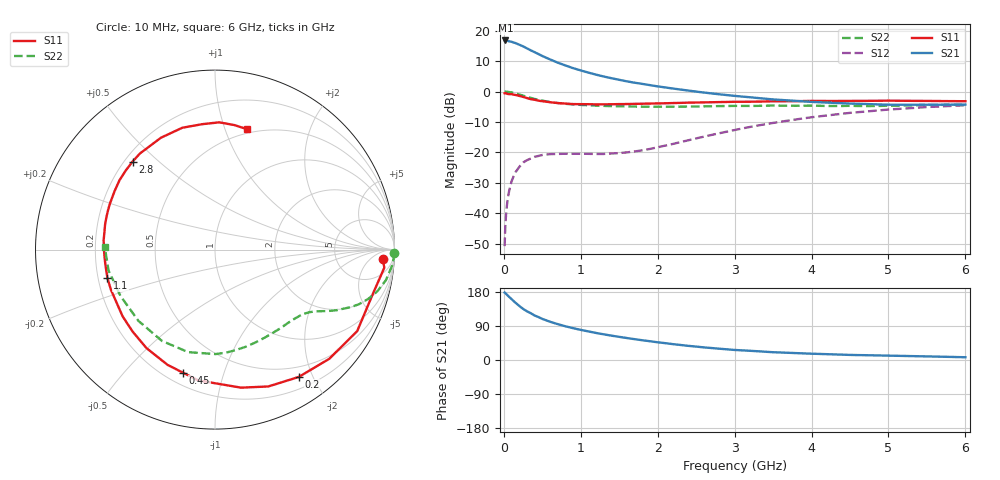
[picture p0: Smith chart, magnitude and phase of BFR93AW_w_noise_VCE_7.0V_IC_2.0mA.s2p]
! Infineon Technologies  Discrete & RF Semiconductors
! BFR93AW
! VCE =  7.0 V,  IC =  2.0 mA
! Common Emitter S-Parameters:  Jan 2017
# GHz  S  MA  R  50
!  f  S11  S21  S12  S22
! GHz  MAG  ANG  MAG  ANG  MAG  ANG  MAG  ANG
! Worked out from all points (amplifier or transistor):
!   77 points, 10 MHz to 6 GHz, reference 50 ohm
!   highest |S21| = 16.8 dB at 20 MHz (marker M1)
!   |S21| within 3 dB of that: start of sweep to 331.4 MHz
!   unconditionally stable (mu >= 1): 1.28 GHz to 2.251 GHz
!   at 130 MHz: K = 0.11, MSG = 21.9 dB, |S12| = -27.6 dB
!   at 2.2 GHz: K = 1.02, MAG = 8.2 dB, |S12| = -17.2 dB
!   at 6 GHz: K = 0.96, MSG = 0.1 dB, |S12| = -4.5 dB
!   lowest NFmin = 1.49 dB at 450 MHz
!   S11 on the Smith chart (normalised r, x): 10 MHz: 18, -15; 200 MHz: 0.35, -1.80; 450 MHz: 0.27, -0.74; 1.1 GHz: 0.24, -0.12; 2.8 GHz: 0.23, +0.41; 6 GHz: 0.46, +1.19
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0.01  0.9363 -3.2  6.817 178.1  0.0029 83.9  1 -1.0
0.02  0.9486 -6.1  6.896 176.4  0.0065 90.2  0.9987 -2.2
0.05  0.9149 -15.0  6.781 170.2  0.0171 81.7  0.9904 -5.2
0.1  0.9132 -29.8  6.567 160.6  0.0334 73.7  0.9677 -10.1
0.15  0.8807 -43.7  6.255 151.3  0.0471 66.4  0.9341 -14.4
0.2  0.8491 -56.7  5.884 142.8  0.0578 60.5  0.8961 -17.9
0.25  0.8184 -68.7  5.518 135.0  0.0683 54.9  0.8578 -20.8
0.3  0.7828 -79.3  5.115 128.5  0.0747 50.0  0.8192 -23.1
0.4  0.7346 -97.3  4.427 117.4  0.0849 42.9  0.757 -26.5
0.45  0.7085 -104.6  4.119 113.3  0.0878 40.4  0.7329 -27.7
0.5  0.6946 -112.3  3.835 108.5  0.0909 38.1  0.7091 -28.9
0.6  0.6686 -124.8  3.369 101.0  0.0939 35.0  0.6741 -30.6
0.7  0.6476 -135.1  2.983 94.7  0.0947 33.5  0.6484 -32.2
0.9  0.6226 -152.0  2.422 84.0  0.0953 33.0  0.6149 -35.4
1.1  0.62 -165.1  2.045 75.4  0.095 35.2  0.5951 -38.9
1.6  0.6238 170.9  1.469 57.9  0.1004 49.3  0.5713 -49.8
2.1  0.6422 153.0  1.167 44.4  0.1299 63.7  0.5631 -63.3
2.8  0.6719 133.1  0.902 29.8  0.2066 70.1  0.5775 -83.9
3.1  0.6796 125.5  0.827 25.4  0.248 68.5  0.5806 -92.7
4.1  0.7014 103.2  0.668 16.0  0.3916 56.9  0.5833 -123.4
5.1  0.7072 86.7  0.609 11.1  0.5157 41.2  0.587 -157.0
6  0.6943 75.3  0.61 7.3  0.5966 27.3  0.6146 178.5
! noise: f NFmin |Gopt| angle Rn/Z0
0.45  1.49  0.44  71  0.2
0.9  1.76  0.41  128  0.21
1.9  3.23  0.56  -159  0.25
2.4  4.18  0.62  -139  0.45
